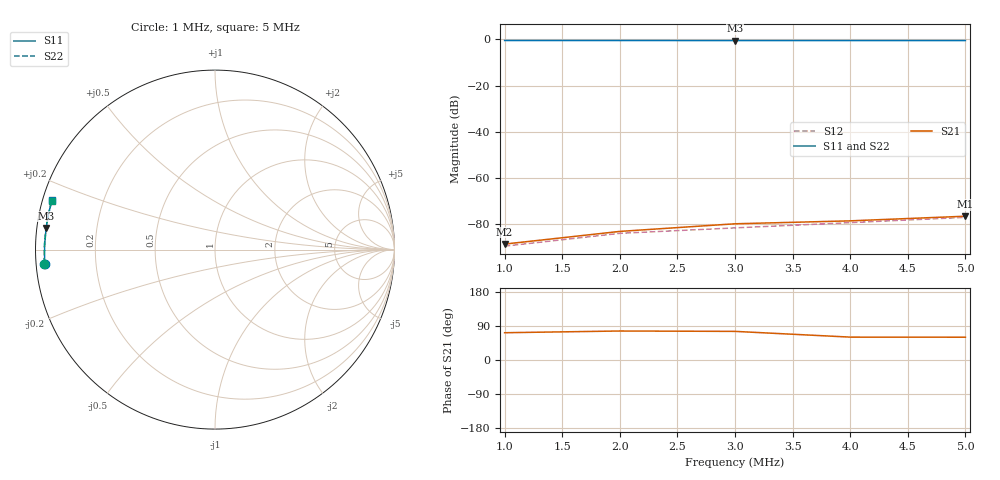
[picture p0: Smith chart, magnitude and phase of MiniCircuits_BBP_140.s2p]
! Mini-Circuits
! S2P DATA File Format
! Type: BAND PASS FILTER
! Model: BBP-140+
! All S Parameters are in dB deg format
! TEST CONDITIONS: INPUT POWER = 0 dBm @ Temperature = +25 deg C
# MHz S dB R 50
!Frequency  S11 dB  S11 DEG  S21 dB  S21 DEG  S12 dB  S12 DEG  S22 dB  S22 DEG
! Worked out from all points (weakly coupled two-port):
!   5 points, 1 MHz to 5 MHz, reference 50 ohm
!   highest |S21| = -76.65 dB at 5 MHz (marker M1); lowest = -88.7 dB at 1 MHz (marker M2)
!   lowest |S11| = -0.5 dB at 3 MHz (marker M3), VSWR 37.57, Z = 1.34 + j3.18 ohm
!   |S11| at or under -10 dB: nowhere
!   |S22| runs from -0.5 to -0.4 dB; largest |S21 - S12| = 2e-05
1  -0.42 -175.3  -88.73 72.0  -89.64 73.7  -0.40 -175.3
2  -0.45 178.4  -83.24 76.5  -84.07 63.4  -0.44 178.4
3  -0.46 172.7  -79.93 75.5  -81.70 70.9  -0.45 172.8
4  -0.46 167.7  -78.65 60.4  -79.43 58.2  -0.45 167.9
5  -0.46 163.2  -76.65 60.1  -77.13 66.6  -0.45 163.4
